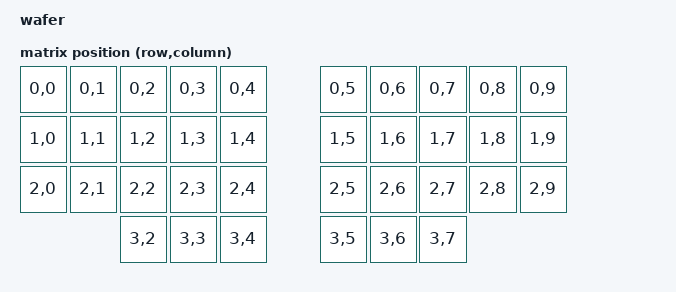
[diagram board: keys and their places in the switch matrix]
/*
 * Copyright (c) 2020 The ZMK Contributors
 *
 * SPDX-License-Identifier: MIT
 */

/dts-v1/;
#include <nordic/nrf52840_qiaa.dtsi>
#include "wafer-pinctrl.dtsi"
#include <dt-bindings/zmk/matrix_transform.h>
#include <dt-bindings/regulator/npm1300.h>
#include <layouts/wafer/wafer_layout.dtsi>

&wafer_layout_phys {
    transform = <&default_transform>;
};

 / {
    model = "wafer";
    compatible = "waferkeyboard,wafer";

    chosen {
        zephyr,code-partition = &code_partition;
        zephyr,sram = &sram0;
        zephyr,flash = &flash0;

        zmk,physical-layout = &wafer_layout_phys;
        zephyr,display = &display;
        zmk,battery = &npm1300_charger;
    };

    default_transform: keymap_transform_0 {
        compatible = "zmk,matrix-transform";
        columns = <10>;
        rows = <4>;

        map = <
            RC(0,0) RC(0,1) RC(0,2) RC(0,3) RC(0,4) RC(0,5) RC(0,6) RC(0,7) RC(0,8) RC(0,9)
            RC(1,0) RC(1,1) RC(1,2) RC(1,3) RC(1,4) RC(1,5) RC(1,6) RC(1,7) RC(1,8) RC(1,9)
            RC(2,0) RC(2,1) RC(2,2) RC(2,3) RC(2,4) RC(2,5) RC(2,6) RC(2,7) RC(2,8) RC(2,9)
                            RC(3,2) RC(3,3) RC(3,4) RC(3,5) RC(3,6) RC(3,7)
        >;
    };

    leds {
        compatible = "gpio-leds";
        blue_led: led_0 {
            gpios = <&gpio0 5 GPIO_ACTIVE_HIGH>;
        };
    };

    /*
     * Управление внешним питанием (например дисплея) через GPIO nPM1300.
     * Внутри nPM1300-конфига свяжешь этот GPIO с нужным LDO/LS.
     */
    EXT_POWER {
        compatible = "zmk,ext-power-generic";
        control-gpios = <&npm1300_gpio 0 GPIO_ACTIVE_HIGH>;
        init-delay-ms = <50>;
    };
};

/* Базовые переферии */

&gpio0 { status = "okay"; };
&gpio1 { status = "okay"; };
&gpiote { status = "okay"; };
&adc   { status = "okay"; };

/* UART для отладки */

&uart0 {
    compatible = "nordic,nrf-uarte";
    current-speed = <115200>;
    status = "okay";
    pinctrl-0 = <&uart0_default>;
    pinctrl-1 = <&uart0_sleep>;
    pinctrl-names = "default", "sleep";
};

/* nice!view (Sharp LS0xx) по SPI0: MOSI=P0.20, SCK=P0.17, CS=P0.06 */

display_spi: &spi0 {
    status = "okay";
    compatible = "nordic,nrf-spim";
    pinctrl-0 = <&spi0_default>;
    pinctrl-1 = <&spi0_sleep>;
    pinctrl-names = "default", "sleep";
    cs-gpios = <&gpio0 6 GPIO_ACTIVE_HIGH>;

    display: ls0xx@0 {
        compatible = "sharp,ls0xx";
        spi-max-frequency = <1000000>;
        reg = <0>;
        width = <160>;
        height = <68>;

        /* (Load Switch enable) */
        vin-supply = <&npm1300_ldo1>;
    };
};

/* I2C1: шина для nPM1300, BAT_I2C_SCL=P0.02, BAT_I2C_SDA=P0.31 */

&i2c1 {
    compatible = "nordic,nrf-twi";
    status = "okay";
    pinctrl-0 = <&i2c1_default>;
    pinctrl-1 = <&i2c1_sleep>;
    pinctrl-names = "default", "sleep";

    pmic: pmic@6b {
        compatible = "nordic,npm1300";
        reg = <0x6b>;
        status = "okay";

        /* Пример: INT nPM1300 → P0.28. Если у тебя иначе — правим тут. */
        host-int-gpios = <&gpio0 28 GPIO_ACTIVE_LOW>;
        pmic-int-pin = <0>;

        /* Экспорт 5 GPIO из nPM1300 */
        npm1300_gpio: gpio-controller {
            compatible = "nordic,npm1300-gpio";
            gpio-controller;
            #gpio-cells = <2>;
            ngpios = <5>;
        };

        /* Регуляторы nPM1300 (сюда потом подставишь значения из PowerUP) */
        npm1300_regulators: regulators {
            compatible = "nordic,npm1300-regulator";

            npm1300_buck1: BUCK1 {
                status = "disabled";
            };

            npm1300_buck2: BUCK2 {
                regulator-min-microvolt = <1800000>;
                regulator-max-microvolt = <3300000>;
                regulator-boot-on;
                regulator-initial-mode = <NPM1300_BUCK_MODE_AUTO>;
            };

            /* LDO1 — питание дисплея, как LS */
            npm1300_ldo1: LDO1 {
                regulator-min-microvolt = <3000000>;
                regulator-max-microvolt = <3300000>;
                regulator-initial-mode = <NPM1300_LDSW_MODE_LDSW>;
            };

            /* Свободный LDO2 под что угодно */
            npm1300_ldo2: LDO2 {
                regulator-min-microvolt = <1800000>;
                regulator-max-microvolt = <3300000>;
                regulator-initial-mode = <NPM1300_LDSW_MODE_LDSW>;
            };
        };

        npm1300_charger: charger {
            compatible = "nordic,npm1300-charger";
            status = "okay";

            term-microvolt = <4200000>;
            term-warm-microvolt = <3600000>;
            current-microamp = <124000>;
            dischg-limit-microamp = <1000000>;
            vbus-limit-microamp = <500000>;
            thermistor-ohms = <10000>;
            thermistor-beta = <3380>;
            charging-enable;
        };

        npm1300_leds: leds {
            compatible = "nordic,npm1300-led";
            nordic,led0-mode = "charging";
            nordic,led1-mode = "host";
            nordic,led2-mode = "host";
        };
    };
};

/* USB */
zephyr_udc0: &usbd {
    status = "okay";
};


&flash0 {
    partitions {
        compatible = "fixed-partitions";
        #address-cells = <1>;
        #size-cells = <1>;

        sd_partition: partition@0 {
            reg = <0x00000000 0x00026000>;
        };
        code_partition: partition@26000 {
            reg = <0x00026000 0x000c6000>;
        };
        storage_partition: partition@ec000 {
            reg = <0x000ec000 0x00008000>;
        };
        boot_partition: partition@f4000 {
            reg = <0x000f4000 0x0000c000>;
        };
    };
};
